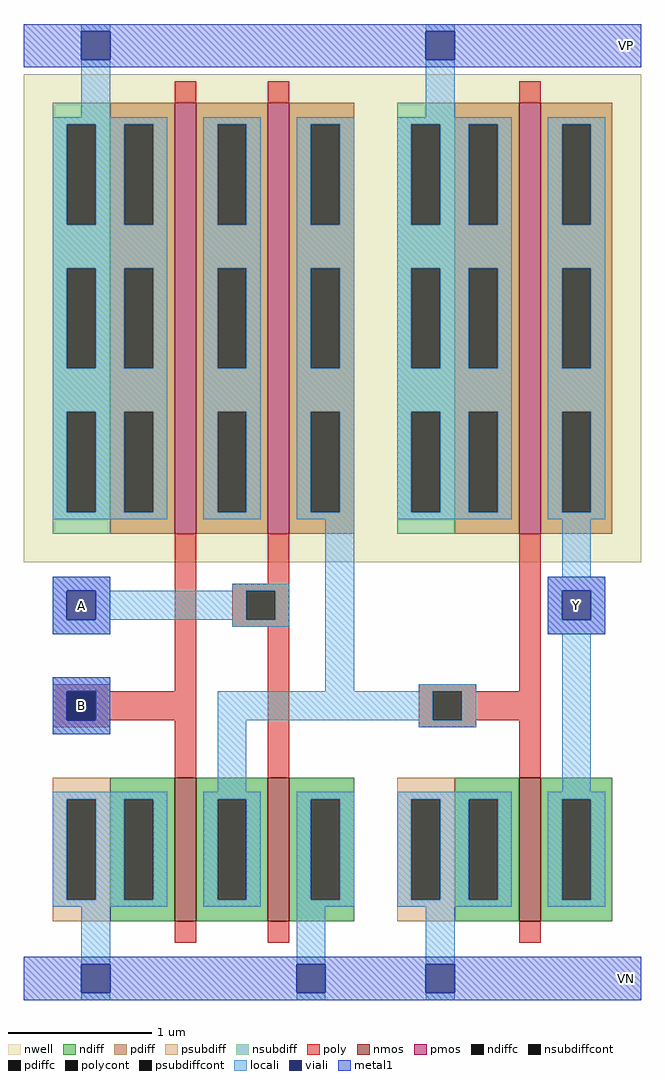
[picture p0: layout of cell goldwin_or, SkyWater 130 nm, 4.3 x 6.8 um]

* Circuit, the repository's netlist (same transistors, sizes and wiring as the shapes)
** sch_path: /foss/designs/APIC-2025/APIC-UTS/schematic/goldwin_or/goldwin_or.sch
.subckt goldwin_or A B Y VP VN
*.PININFO A:I B:I Y:O VP:I VN:I
XM1 net1 A VN VN sky130_fd_pr__nfet_01v8 L=0.15 W=1 nf=1 m=1
XM4 net1 B VN VN sky130_fd_pr__nfet_01v8 L=0.15 W=1 nf=1 m=1
XM6 Y net1 VN VN sky130_fd_pr__nfet_01v8 L=0.15 W=1 nf=1 m=1
XM2 net2 B VP VP sky130_fd_pr__pfet_01v8 L=0.15 W=3 nf=1 m=1
XM3 net1 A net2 VP sky130_fd_pr__pfet_01v8 L=0.15 W=3 nf=1 m=1
XM5 Y net1 VP VP sky130_fd_pr__pfet_01v8 L=0.15 W=3 nf=1 m=1
.ends
.end

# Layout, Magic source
magic
tech sky130A
<< nwell >>
rect -105 250 325 590
<< nmos >>
rect 0 0 15 100
rect 65 0 80 100
rect 240 0 255 100
<< pmos >>
rect 0 270 15 570
rect 65 270 80 570
rect 240 270 255 570
<< ndiff >>
rect -45 85 0 100
rect -45 15 -35 85
rect -15 15 0 85
rect -45 0 0 15
rect 15 85 65 100
rect 15 15 30 85
rect 50 15 65 85
rect 15 0 65 15
rect 80 85 125 100
rect 80 15 95 85
rect 115 15 125 85
rect 80 0 125 15
rect 195 85 240 100
rect 195 15 205 85
rect 225 15 240 85
rect 195 0 240 15
rect 255 85 305 100
rect 255 15 270 85
rect 290 15 305 85
rect 255 0 305 15
<< pdiff >>
rect -45 555 0 570
rect -45 485 -35 555
rect -15 485 0 555
rect -45 455 0 485
rect -45 385 -35 455
rect -15 385 0 455
rect -45 355 0 385
rect -45 285 -35 355
rect -15 285 0 355
rect -45 270 0 285
rect 15 555 65 570
rect 15 485 30 555
rect 50 485 65 555
rect 15 455 65 485
rect 15 385 30 455
rect 50 385 65 455
rect 15 355 65 385
rect 15 285 30 355
rect 50 285 65 355
rect 15 270 65 285
rect 80 555 125 570
rect 80 485 95 555
rect 115 485 125 555
rect 80 455 125 485
rect 80 385 95 455
rect 115 385 125 455
rect 80 355 125 385
rect 80 285 95 355
rect 115 285 125 355
rect 80 270 125 285
rect 195 555 240 570
rect 195 485 205 555
rect 225 485 240 555
rect 195 455 240 485
rect 195 385 205 455
rect 225 385 240 455
rect 195 355 240 385
rect 195 285 205 355
rect 225 285 240 355
rect 195 270 240 285
rect 255 555 305 570
rect 255 485 270 555
rect 290 485 305 555
rect 255 455 305 485
rect 255 385 270 455
rect 290 385 305 455
rect 255 355 305 385
rect 255 285 270 355
rect 290 285 305 355
rect 255 270 305 285
<< ndiffc >>
rect -35 15 -15 85
rect 30 15 50 85
rect 95 15 115 85
rect 205 15 225 85
rect 270 15 290 85
<< pdiffc >>
rect -35 485 -15 555
rect -35 385 -15 455
rect -35 285 -15 355
rect 30 485 50 555
rect 30 385 50 455
rect 30 285 50 355
rect 95 485 115 555
rect 95 385 115 455
rect 95 285 115 355
rect 205 485 225 555
rect 205 385 225 455
rect 205 285 225 355
rect 270 485 290 555
rect 270 385 290 455
rect 270 285 290 355
<< psubdiff >>
rect -85 85 -45 100
rect -85 15 -75 85
rect -55 15 -45 85
rect -85 0 -45 15
rect 155 85 195 100
rect 155 15 165 85
rect 185 15 195 85
rect 155 0 195 15
<< nsubdiff >>
rect -85 555 -45 570
rect -85 485 -75 555
rect -55 485 -45 555
rect -85 455 -45 485
rect -85 385 -75 455
rect -55 385 -45 455
rect -85 355 -45 385
rect -85 285 -75 355
rect -55 285 -45 355
rect -85 270 -45 285
rect 155 555 195 570
rect 155 485 165 555
rect 185 485 195 555
rect 155 455 195 485
rect 155 385 165 455
rect 185 385 195 455
rect 155 355 195 385
rect 155 285 165 355
rect 185 285 195 355
rect 155 270 195 285
<< psubdiffcont >>
rect -75 15 -55 85
rect 165 15 185 85
<< nsubdiffcont >>
rect -75 485 -55 555
rect -75 385 -55 455
rect -75 285 -55 355
rect 165 485 185 555
rect 165 385 185 455
rect 165 285 185 355
<< poly >>
rect 0 570 15 585
rect 65 570 80 585
rect 240 570 255 585
rect -85 160 -45 165
rect 0 160 15 270
rect 65 235 80 270
rect 40 230 80 235
rect 40 210 50 230
rect 70 210 80 230
rect 40 205 80 210
rect -85 140 -75 160
rect -55 140 15 160
rect -85 135 -45 140
rect 0 100 15 140
rect 65 100 80 205
rect 170 160 210 165
rect 240 160 255 270
rect 170 140 180 160
rect 200 140 255 160
rect 170 135 210 140
rect 240 100 255 140
rect 0 -15 15 0
rect 65 -15 80 0
rect 240 -15 255 0
<< polycont >>
rect 50 210 70 230
rect -75 140 -55 160
rect 180 140 200 160
<< locali >>
rect -65 620 -45 625
rect -65 560 -45 600
rect 175 620 195 625
rect 175 560 195 600
rect -85 555 -5 560
rect -85 485 -75 555
rect -55 485 -35 555
rect -15 485 -5 555
rect -85 455 -5 485
rect -85 385 -75 455
rect -55 385 -35 455
rect -15 385 -5 455
rect -85 355 -5 385
rect -85 285 -75 355
rect -55 285 -35 355
rect -15 285 -5 355
rect -85 280 -5 285
rect 20 555 60 560
rect 20 485 30 555
rect 50 485 60 555
rect 20 455 60 485
rect 20 385 30 455
rect 50 385 60 455
rect 20 355 60 385
rect 20 285 30 355
rect 50 285 60 355
rect 20 280 60 285
rect 85 555 125 560
rect 85 485 95 555
rect 115 485 125 555
rect 85 455 125 485
rect 85 385 95 455
rect 115 385 125 455
rect 85 355 125 385
rect 85 285 95 355
rect 115 285 125 355
rect 85 280 125 285
rect 155 555 235 560
rect 155 485 165 555
rect 185 485 205 555
rect 225 485 235 555
rect 155 455 235 485
rect 155 385 165 455
rect 185 385 205 455
rect 225 385 235 455
rect 155 355 235 385
rect 155 285 165 355
rect 185 285 205 355
rect 225 285 235 355
rect 155 280 235 285
rect 260 555 300 560
rect 260 485 270 555
rect 290 485 300 555
rect 260 455 300 485
rect 260 385 270 455
rect 290 385 300 455
rect 260 355 300 385
rect 260 285 270 355
rect 290 285 300 355
rect 260 280 300 285
rect -85 230 -45 240
rect 40 230 80 235
rect -85 210 -75 230
rect -55 210 50 230
rect 70 210 80 230
rect -85 200 -45 210
rect 40 205 80 210
rect -85 160 -45 170
rect 105 160 125 280
rect 270 240 290 280
rect 260 230 300 240
rect 260 210 270 230
rect 290 210 300 230
rect 260 200 300 210
rect 170 160 210 165
rect -85 140 -75 160
rect -55 140 -45 160
rect -85 130 -45 140
rect 30 140 180 160
rect 200 140 210 160
rect 30 90 50 140
rect 170 135 210 140
rect 270 90 290 200
rect -85 85 -5 90
rect -85 15 -75 85
rect -55 15 -35 85
rect -15 15 -5 85
rect -85 10 -5 15
rect 20 85 60 90
rect 20 15 30 85
rect 50 15 60 85
rect 20 10 60 15
rect 85 85 125 90
rect 85 15 95 85
rect 115 15 125 85
rect 85 10 125 15
rect 155 85 235 90
rect 155 15 165 85
rect 185 15 205 85
rect 225 15 235 85
rect 155 10 235 15
rect 260 85 300 90
rect 260 15 270 85
rect 290 15 300 85
rect 260 10 300 15
rect -65 -30 -45 10
rect -65 -55 -45 -50
rect 85 -30 105 10
rect 85 -55 105 -50
rect 175 -30 195 10
rect 175 -55 195 -50
<< viali >>
rect -65 600 -45 620
rect 175 600 195 620
rect -75 210 -55 230
rect 270 210 290 230
rect -75 140 -55 160
rect -65 -50 -45 -30
rect 85 -50 105 -30
rect 175 -50 195 -30
<< metal1 >>
rect -105 620 325 625
rect -105 600 -65 620
rect -45 600 175 620
rect 195 600 325 620
rect -105 595 325 600
rect -85 230 -45 240
rect -85 210 -75 230
rect -55 210 -45 230
rect -85 200 -45 210
rect 260 230 300 240
rect 260 210 270 230
rect 290 210 300 230
rect 260 200 300 210
rect -85 160 -45 170
rect -85 140 -75 160
rect -55 140 -45 160
rect -85 130 -45 140
rect -105 -30 325 -25
rect -105 -50 -65 -30
rect -45 -50 85 -30
rect 105 -50 175 -30
rect 195 -50 325 -30
rect -105 -55 325 -50
<< labels >>
flabel metal1 305 -55 325 -25 1 FreeSans 200 0 0 -120 VN
port 5 n
flabel metal1 305 595 325 625 1 FreeSans 200 0 0 -120 VP
port 4 n
flabel metal1 -85 200 -45 240 5 FreeSans 200 0 0 120 A
port 1 n
flabel metal1 -85 130 -45 170 5 FreeSans 200 0 0 120 B
port 2 n
flabel metal1 265 200 295 240 5 FreeSans 200 0 0 120 Y
port 3 n
<< end >>
